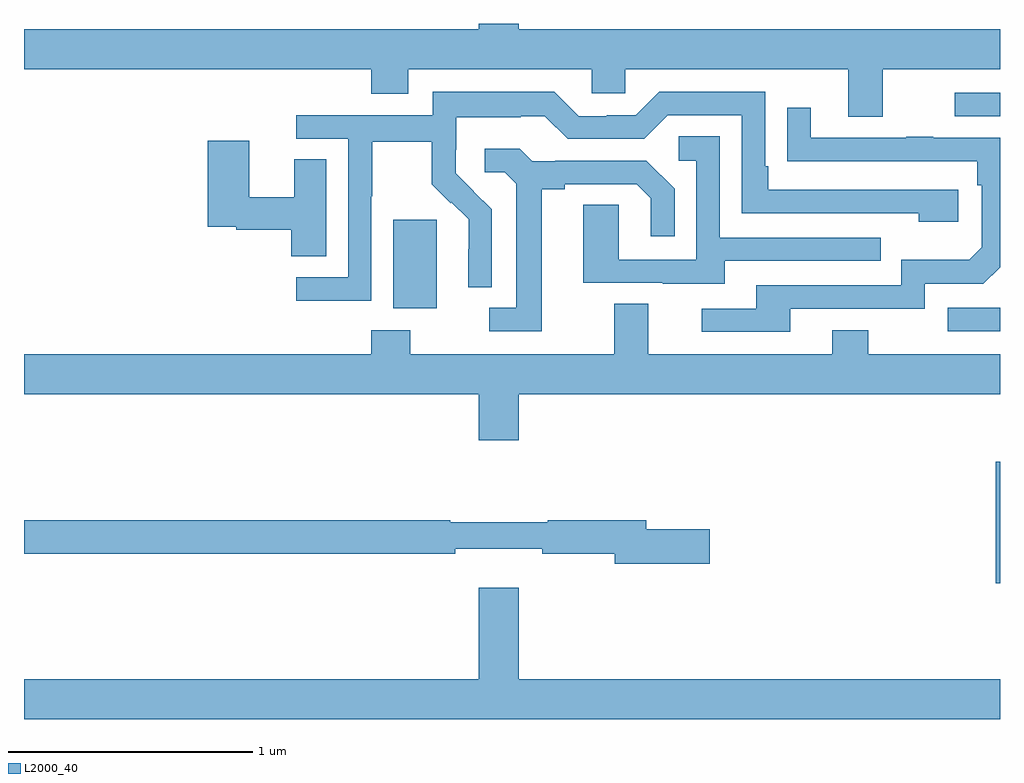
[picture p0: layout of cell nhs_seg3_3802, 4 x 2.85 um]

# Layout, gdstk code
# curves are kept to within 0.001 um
import gdstk
lib = gdstk.Library(unit=1e-6, precision=1e-09)
def R(c, l, rs):  # rectangles x0, y0, x1, y1
    for r in rs: c.add(gdstk.rectangle(r[:2], r[2:], *l))
def P(c, l, *ps):  # polygons
    for p in ps: c.add(gdstk.Polygon(p, *l))
L2000_40 = (2000, 40)

nhs_seg3_3802 = lib.new_cell('nhs_seg3_3802')
R(nhs_seg3_3802, L2000_40, [(310.982,736.106,311,736.605), (310.785,737.139,311,737.235), (308.513,737.234,308.692,737.595), (310.815,738.021,311,738.117)])
P(nhs_seg3_3802, L2000_40, [(310.519,738.212),(311,738.212),(311,738.376),(309.028,738.376),(309.028,738.4),(308.864,738.4),(308.864,738.376),(307,738.376),(307,738.212),(308.423,738.212),(308.423,738.113),(308.575,738.113),(308.575,738.212),(309.327,738.212),(309.327,738.114),(309.465,738.114),(309.465,738.212),(310.379,738.212),(310.379,738.018),(310.519,738.018)],
  [(308.424,737.692),(308.427,737.692),(308.427,737.916),(308.671,737.916),(308.671,737.741),(308.748,737.664),(308.751,737.667),(308.822,737.597),(308.822,737.474),(308.82,737.474),(308.82,737.32),(308.916,737.32),(308.916,737.638),(308.77,737.786),(308.77,737.883),(308.772,737.883),(308.772,738.017),(309.035,738.017),(309.035,738.021),(309.135,738.021),(309.228,737.928),(309.543,737.928),(309.639,738.024),(309.942,738.024),(309.942,737.622),(310.667,737.622),(310.667,737.588),(310.828,737.588),(310.828,737.718),(310.051,737.718),(310.051,737.815),(310.038,737.815),(310.038,738.12),(309.603,738.12),(309.507,738.024),(309.389,738.024),(309.389,738.021),(309.273,738.021),(309.173,738.121),(308.676,738.121),(308.676,738.024),(308.115,738.024),(308.115,737.928),(308.328,737.928),(308.328,737.361),(308.115,737.361),(308.115,737.263),(308.424,737.263)],
  [(310.141,737.232),(310.692,737.232),(310.692,737.334),(310.932,737.334),(311,737.402),(311,737.931),(310.727,737.931),(310.727,737.936),(310.615,737.936),(310.615,737.931),(310.225,737.931),(310.225,738.055),(310.129,738.055),(310.129,737.836),(310.906,737.835),(310.906,737.738),(310.926,737.738),(310.926,737.484),(310.873,737.431),(310.596,737.431),(310.596,737.328),(310.001,737.328),(310.001,737.232),(309.777,737.232),(309.777,737.136),(310.141,737.136)],
  [(309.871,737.427),(310.511,737.427),(310.511,737.523),(309.852,737.523),(309.852,737.939),(309.684,737.939),(309.684,737.838),(309.756,737.838),(309.756,737.433),(309.438,737.433),(309.438,737.657),(309.293,737.657),(309.293,737.337),(309.617,737.337),(309.617,737.333),(309.871,737.333)],
  [(308.239,737.843),(308.108,737.843),(308.108,737.689),(307.924,737.689),(307.924,737.92),(307.754,737.92),(307.754,737.567),(307.87,737.567),(307.87,737.555),(308.096,737.555),(308.096,737.446),(308.239,737.446)],
  [(309.121,737.72),(309.217,737.72),(309.217,737.742),(309.512,737.742),(309.569,737.685),(309.569,737.529),(309.666,737.529),(309.666,737.722),(309.55,737.838),(309.178,737.838),(309.178,737.835),(309.084,737.835),(309.032,737.887),(308.889,737.887),(308.889,737.79),(308.97,737.79),(309.017,737.743),(309.017,737.235),(308.907,737.235),(308.907,737.139),(309.121,737.139)],
  [(309.028,736.88),(311,736.88),(311,737.044),(310.461,737.044),(310.461,737.143),(310.313,737.143),(310.313,737.044),(309.559,737.044),(309.559,737.252),(309.419,737.252),(309.419,737.044),(308.583,737.044),(308.583,737.143),(308.423,737.143),(308.423,737.044),(307,737.044),(307,736.88),(308.864,736.88),(308.864,736.692),(309.028,736.692)],
  [(309.811,736.328),(309.55,736.328),(309.55,736.364),(309.146,736.364),(309.146,736.357),(308.746,736.357),(308.746,736.364),(307,736.364),(307,736.228),(308.768,736.228),(308.768,736.247),(309.124,736.247),(309.124,736.228),(309.422,736.228),(309.422,736.186),(309.811,736.186)],
  [(311,735.712),(309.028,735.712),(309.028,736.087),(308.864,736.087),(308.864,735.712),(307,735.712),(307,735.548),(311,735.548)])

lib.write_gds('nhs_seg3_3802.gds')
